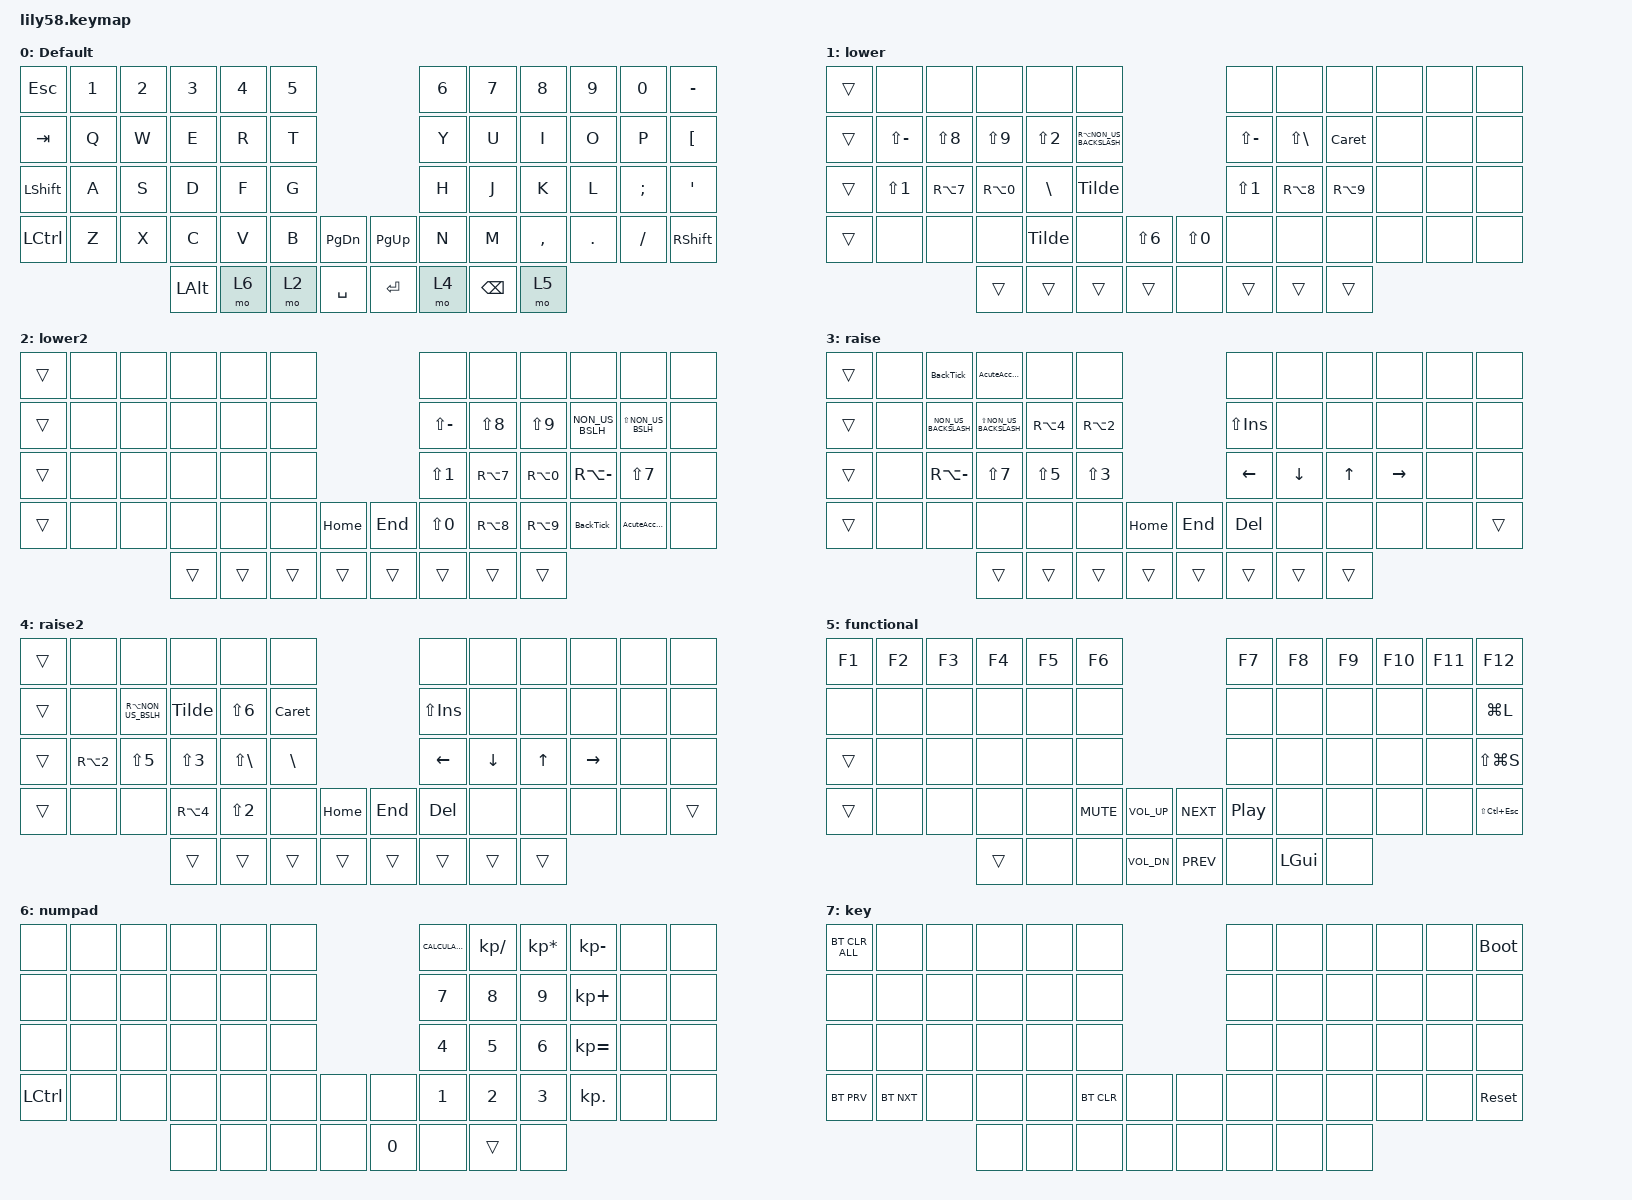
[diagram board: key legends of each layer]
/*
 * Copyright (c) 2020 The ZMK Contributors
 *
 * SPDX-License-Identifier: MIT
 */

#include <behaviors.dtsi>
#include <dt-bindings/zmk/bt.h>
#include <dt-bindings/zmk/keys.h>

/ {
    combos { compatible = "zmk,combos"; };

    macros {
        Tilde: Tilde {
            compatible = "zmk,behavior-macro";
            #binding-cells = <0>;
            bindings = <&kp RA(RIGHT_BRACKET) &kp SPACE>;
            label = "TILDE";
        };

        AcuteAccent: AcuteAccent {
            compatible = "zmk,behavior-macro";
            #binding-cells = <0>;
            bindings = <&kp EQUAL &kp SPACE>;
            label = "ACUTEACCENT";
        };

        BackTick: BackTick {
            compatible = "zmk,behavior-macro";
            #binding-cells = <0>;
            bindings = <&kp LS(EQUAL) &kp SPACE>;
            label = "BACKTICK";
        };

        Caret: Caret {
            compatible = "zmk,behavior-macro";
            #binding-cells = <0>;
            bindings = <&kp LS(RIGHT_BRACKET) &kp SPACE>;
            label = "CARET";
        };
    };

    keymap {
        compatible = "zmk,keymap";

        default_layer {
            // ------------------------------------------------------------------------------------------------------------
            // |  ESC  |  1  |  2  |  3   |  4   |  5   |                   |  6   |  7    |  8    |  9   |   0   |   `   |
            // |  TAB  |  Q  |  W  |  E   |  R   |  T   |                   |  Y   |  U    |  I    |  O   |   P   |   -   |
            // |  CTRL |  A  |  S  |  D   |  F   |  G   |                   |  H   |  J    |  K    |  L   |   ;   |   '   |
            // | SHIFT |  Z  |  X  |  C   |  V   |  B   |   "["  |  |  "]"  |  N   |  M    |  ,    |  .   |   /   | SHIFT |
            //                     | ALT  | GUI  | LOWER|  SPACE |  | ENTER | RAISE| BSPC  | GUI   |

            display-name = "Default";
            bindings = <
&kp ESC           &kp N1  &kp N2  &kp N3        &kp N4  &kp N5                                &kp N6  &kp N7    &kp N8     &kp N9   &kp N0    &kp MINUS
&kp TAB           &kp Q   &kp W   &kp E         &kp R   &kp T                                 &kp Y   &kp U     &kp I      &kp O    &kp P     &kp LEFT_BRACKET
&kp LEFT_SHIFT    &kp A   &kp S   &kp D         &kp F   &kp G                                 &kp H   &kp J     &kp K      &kp L    &kp SEMI  &kp SQT
&kp LEFT_CONTROL  &kp Z   &kp X   &kp C         &kp V   &kp B   &kp PAGE_DOWN    &kp PAGE_UP  &kp N   &kp M     &kp COMMA  &kp DOT  &kp FSLH  &kp RSHFT
                                  &kp LEFT_ALT  &mo 6   &mo 2   &kp SPACE        &kp RET      &mo 4   &kp BSPC  &mo 5
            >;
        };

        lower_layer {
            bindings = <
&trans  &none             &none       &none       &none             &none                                                     &none             &none              &none       &none  &none  &none
&trans  &kp LS(MINUS)     &kp LS(N8)  &kp LS(N9)  &kp LS(NUMBER_2)  &kp RA(NON_US_BACKSLASH)                                  &kp LS(MINUS)     &kp LS(BACKSLASH)  &Caret      &none  &none  &none
&trans  &kp LS(NUMBER_1)  &kp RA(N7)  &kp RA(N0)  &kp BACKSLASH     &Tilde                                                    &kp LS(NUMBER_1)  &kp RA(N8)         &kp RA(N9)  &none  &none  &none
&trans  &none             &none       &none       &Tilde            &none                     &kp LS(NUMBER_6)    &kp LS(N0)  &none             &none              &none       &none  &none  &none
                                      &trans      &trans            &trans                    &trans              &none       &trans            &trans             &trans
            >;

            label = "lower";
        };

        lower_layer2 {
            bindings = <
&trans  &none  &none  &none   &none   &none                        &none             &none       &none       &none            &none                &none
&trans  &none  &none  &none   &none   &none                        &kp LS(MINUS)     &kp LS(N8)  &kp LS(N9)  &kp NON_US_BSLH  &kp LS(NON_US_BSLH)  &none
&trans  &none  &none  &none   &none   &none                        &kp LS(NUMBER_1)  &kp RA(N7)  &kp RA(N0)  &kp RA(MINUS)    &kp LS(N7)           &none
&trans  &none  &none  &none   &none   &none   &kp HOME    &kp END  &kp LS(N0)        &kp RA(N8)  &kp RA(N9)  &BackTick        &AcuteAccent         &none
                      &trans  &trans  &trans  &trans      &trans   &trans            &trans      &trans
            >;

            label = "lower2";
        };

        raise_layer {
            bindings = <
&trans  &none  &BackTick             &AcuteAccent              &none             &none                                  &none           &none     &none         &none      &none  &none
&trans  &none  &kp NON_US_BACKSLASH  &kp LS(NON_US_BACKSLASH)  &kp RA(NUMBER_4)  &kp RA(NUMBER_2)                       &kp LS(INSERT)  &none     &none         &none      &none  &none
&trans  &none  &kp RA(MINUS)         &kp LS(NUMBER_7)          &kp LS(N5)        &kp LS(NUMBER_3)                       &kp LEFT        &kp DOWN  &kp UP_ARROW  &kp RIGHT  &none  &none
&trans  &none  &none                 &none                     &none             &none             &kp HOME    &kp END  &kp DELETE      &none     &none         &none      &none  &trans
                                     &trans                    &trans            &trans            &trans      &trans   &trans          &trans    &trans
            >;

            label = "raise";
        };

        raise_layer2 {
            bindings = <
&trans  &none             &none                &none             &none              &none                               &none           &none           &none         &none      &none  &none
&trans  &none             &kp RA(NON_US_BSLH)  &Tilde            &kp LS(NUMBER_6)   &Caret                              &kp LS(INSERT)  &none           &none         &none      &none  &none
&trans  &kp RA(NUMBER_2)  &kp LS(N5)           &kp LS(NUMBER_3)  &kp LS(BACKSLASH)  &kp BACKSLASH                       &kp LEFT_ARROW  &kp DOWN_ARROW  &kp UP_ARROW  &kp RIGHT  &none  &none
&trans  &none             &none                &kp RA(NUMBER_4)  &kp LS(NUMBER_2)   &none          &kp HOME    &kp END  &kp DELETE      &none           &none         &none      &none  &trans
                                               &trans            &trans             &trans         &trans      &trans   &trans          &trans          &trans
            >;

            label = "raise2";
        };

        functional {
            bindings = <
&kp F1  &kp F2  &kp F3  &kp F4  &kp F5  &kp F6                                     &kp F7            &kp F8        &kp F9  &kp F10  &kp F11  &kp F12
&none   &none   &none   &none   &none   &none                                      &none             &none         &none   &none    &none    &kp LG(L)
&trans  &none   &none   &none   &none   &none                                      &none             &none         &none   &none    &none    &kp LS(LG(S))
&trans  &none   &none   &none   &none   &kp C_MUTE  &kp C_VOLUME_UP    &kp C_NEXT  &kp C_PLAY_PAUSE  &none         &none   &none    &none    &kp LS(LC(ESC))
                        &trans  &none   &none       &kp C_VOL_DN       &kp C_PREV  &none             &kp LEFT_GUI  &none
            >;

            label = "functional";
        };

        numpad {
            bindings = <
&none      &none  &none  &none  &none  &none                   &kp K_CALCULATOR  &kp KP_SLASH  &kp KP_ASTERISK  &kp KP_MINUS  &none  &none
&none      &none  &none  &none  &none  &none                   &kp N7            &kp N8        &kp N9           &kp KP_PLUS   &none  &none
&none      &none  &none  &none  &none  &none                   &kp N4            &kp N5        &kp N6           &kp KP_EQUAL  &none  &none
&kp LCTRL  &none  &none  &none  &none  &none  &none    &none   &kp N1            &kp N2        &kp N3           &kp KP_DOT    &none  &none
                         &none  &none  &none  &none    &kp N0  &none             &trans        &none
            >;

            label = "numpad";
        };

        keyboard_layer {
            bindings = <
&bt BT_CLR_ALL  &none       &none  &none  &none  &none                       &none  &none  &none  &none  &none  &bootloader
&none           &none       &none  &none  &none  &none                       &none  &none  &none  &none  &none  &none
&none           &none       &none  &none  &none  &none                       &none  &none  &none  &none  &none  &none
&bt BT_PRV      &bt BT_NXT  &none  &none  &none  &bt BT_CLR  &none    &none  &none  &none  &none  &none  &none  &sys_reset
                                   &none  &none  &none       &none    &none  &none  &none  &none
            >;

            label = "key";
        };
    };

    conditional_layers {
        compatible = "zmk,conditional-layers";

        Keyboard_settings2 {
            if-layers = <2 4>;
            then-layer = <7>;
        };

        Keyboard_settings {
            if-layers = <1 3>;
            then-layer = <7>;
        };
    };
};
